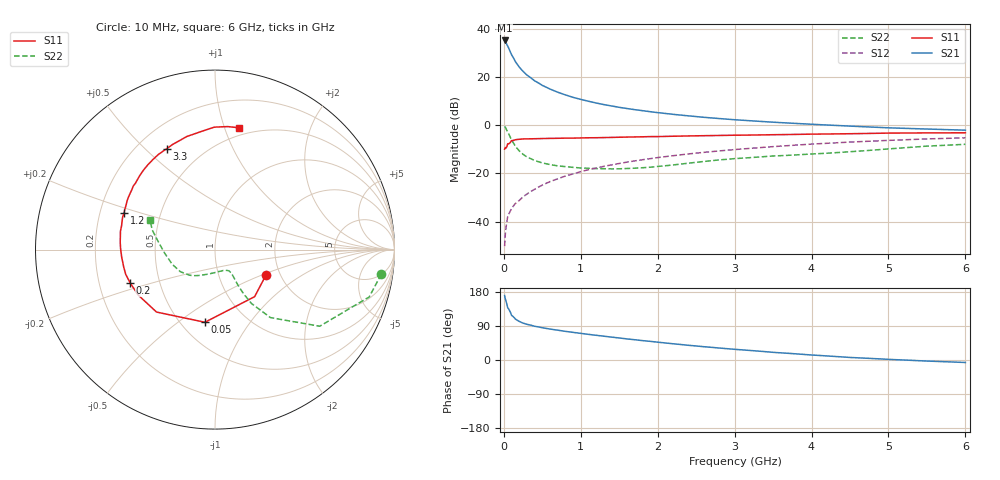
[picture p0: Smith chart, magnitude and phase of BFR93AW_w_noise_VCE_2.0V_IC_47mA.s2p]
! (c) 2017  Infineon Technologies AG, Munich
! Infineon Technologies  Discrete & RF Semiconductors
! BFR93AW
! VCE =  2.0 V,  IC =  47 mA
! Common Emitter S-Parameters:  Jan 2017
# GHz  S  MA  R  50
!  f  S11  S21  S12  S22
! GHz  MAG  ANG  MAG  ANG  MAG  ANG  MAG  ANG
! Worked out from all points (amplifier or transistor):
!   77 points, 10 MHz to 6 GHz, reference 50 ohm
!   highest |S21| = 35.1 dB at 10 MHz (marker M1)
!   |S21| within 3 dB of that: start of sweep to 60.35 MHz
!   unconditionally stable (mu >= 1): 374.3 MHz to 2.264 GHz
!   at 130 MHz: K = 0.68, MSG = 30.4 dB, |S12| = -33.3 dB
!   at 2.2 GHz: K = 1.01, MAG = 8.1 dB, |S12| = -12.7 dB
!   at 6 GHz: K = 0.93, MSG = 1.6 dB, |S12| = -5.3 dB
!   lowest NFmin = 2.21 dB at 450 MHz
!   S11 on the Smith chart (normalised r, x): 10 MHz: 1.69, -0.53; 50 MHz: 0.65, -0.63; 200 MHz: 0.34, -0.17; 1.2 GHz: 0.30, +0.18; 3.3 GHz: 0.32, +0.58; 6 GHz: 0.43, +1.12
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0.01  0.3175 -26.4  56.6 170.0  0.0031 78.9  0.9366 -8.4
0.02  0.3428 -49.9  54.73 160.7  0.0057 78.5  0.8986 -17.1
0.05  0.4087 -97.9  43.43 138.2  0.0126 63.5  0.723 -36.2
0.1  0.4766 -133.1  28.71 118.0  0.0185 58.3  0.4887 -50.8
0.15  0.4974 -149.4  20.63 108.0  0.0237 60.3  0.3628 -55.9
0.2  0.5077 -158.4  15.92 101.8  0.0274 63.8  0.2927 -57.1
0.25  0.5161 -164.5  12.94 97.3  0.0327 63.9  0.2484 -57.2
0.3  0.5177 -169.1  10.87 94.2  0.0372 66.5  0.2184 -56.8
0.4  0.5216 -175.4  8.268 89.0  0.0468 69.2  0.1843 -55.9
0.5  0.526 179.5  6.646 85.1  0.057 70.2  0.1644 -55.3
0.6  0.5297 175.5  5.58 81.7  0.0674 71.5  0.1518 -55.8
0.7  0.5322 172.2  4.798 78.7  0.0771 72.4  0.143 -56.5
0.9  0.5369 166.0  3.753 72.9  0.0974 71.4  0.133 -60.5
1.1  0.5455 160.6  3.113 67.7  0.1192 70.9  0.1277 -65.7
1.2  0.5469 157.9  2.866 65.2  0.1287 70.2  0.1251 -68.7
1.6  0.5642 148.6  2.203 55.7  0.1707 67.2  0.126 -84.9
2.1  0.582 137.9  1.739 45.0  0.2219 62.4  0.1437 -107.2
3.1  0.6184 119.1  1.26 26.7  0.3198 51.8  0.2065 -137.9
3.3  0.6237 115.5  1.201 23.6  0.3385 49.6  0.2169 -142.9
4.1  0.6511 102.5  1.021 12.0  0.4112 40.6  0.2562 -164.2
5.1  0.683 89.1  0.867 0.8  0.4885 29.1  0.3291 169.7
6  0.6919 78.8  0.784 -6.6  0.5449 19.1  0.3995 155.3
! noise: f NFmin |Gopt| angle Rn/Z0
0.45  2.21  0.25  -178  0.17
0.9  2.51  0.3  -168  0.17
1.9  3.61  0.53  -132  0.4
2.4  4.34  0.57  -122  0.75
